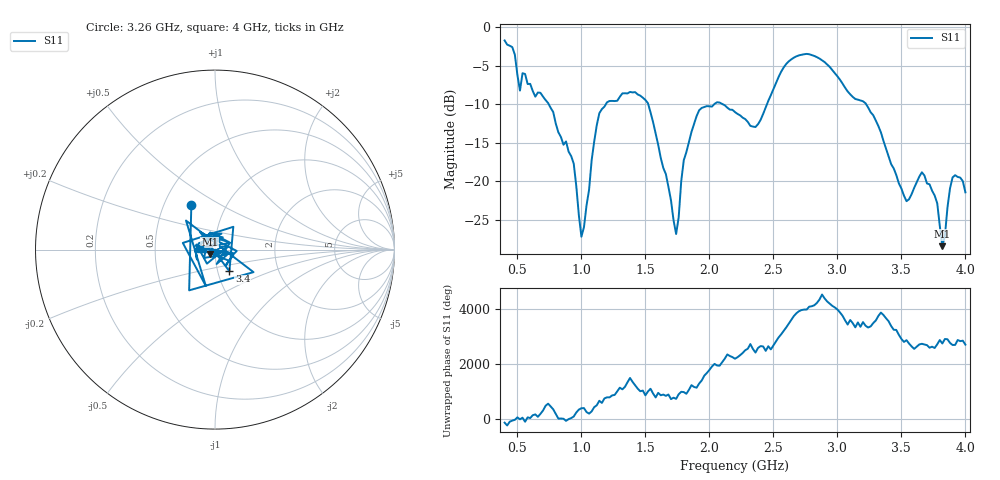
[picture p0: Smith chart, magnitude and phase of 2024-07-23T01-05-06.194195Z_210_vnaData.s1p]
!Created with skrf (http://scikit-rf.org).
# Hz S RI R 50.0
!freq ReS11 ImS11
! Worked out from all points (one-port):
!   181 points, 400 MHz to 4 GHz, reference 50 ohm
!   lowest |S11| = -28.4 dB at 3.82 GHz (marker M1), VSWR 1.08, Z = 47.1 - j2.3 ohm
!   |S11| at or under -10 dB: 745.6 MHz to 1.19 GHz (444.7 MHz wide, 45.9 % of centre); 1.523 GHz to 2.036 GHz (513.6 MHz wide, 28.9 % of centre); 3.225 GHz to end of sweep (the widest 3 of 4)
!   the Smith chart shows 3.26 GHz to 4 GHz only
!   S11 on the Smith chart (normalised r, x): 3.26 GHz: 0.69, +0.37; 3.4 GHz: 1.14, -0.28; 4 GHz: 0.84, +0.00
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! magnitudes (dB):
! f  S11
! 400 MHz  -1.7
! 480 MHz  -3.5
! 520 MHz  -8.2
! 540 MHz  -5.9
! 680 MHz  -8.5
! 860 MHz  -15.2
! 940 MHz  -17.7
! 1 GHz  -27.2
! 1.14 GHz  -11.1
! 1.3 GHz  -9.0
! 1.52 GHz  -9.8
! 1.74 GHz  -26.8
! 1.76 GHz  -24.7
! 1.8 GHz  -17.2
! 1.92 GHz  -10.8
! 2.2 GHz  -11.0
! 2.36 GHz  -12.9
! 2.66 GHz  -3.9
! 2.86 GHz  -4.0
! 3.1 GHz  -8.7
! 3.26 GHz  -11.0
! 3.4 GHz  -16.8
! 3.56 GHz  -22.3
! 3.68 GHz  -19.2
! 3.78 GHz  -22.8
! 3.82 GHz  -28.4
! 3.9 GHz  -19.5
! 4 GHz  -21.4
